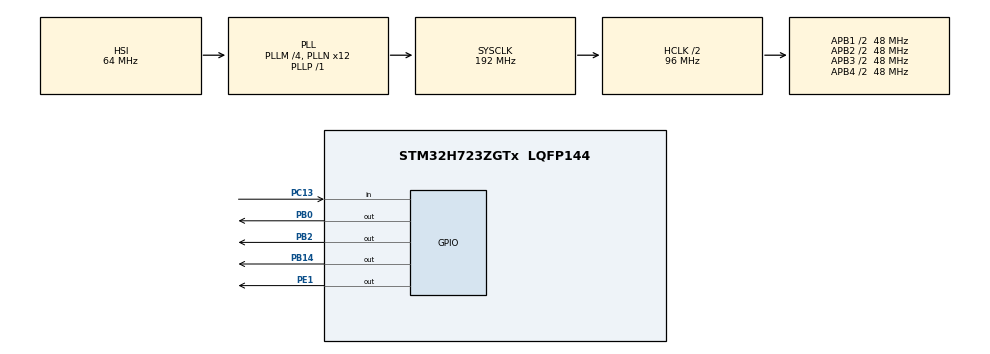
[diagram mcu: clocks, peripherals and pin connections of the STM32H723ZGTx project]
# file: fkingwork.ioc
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CORTEX_M7.default_mode_Activation=1
Mcu.Family=STM32H7
Mcu.Name=STM32H723ZGTx
Mcu.Package=LQFP144
NUCLEO-H723ZG.BUTTON=1
NUCLEO-H723ZG.LD1=true
NUCLEO-H723ZG.LD2=true
NUCLEO-H723ZG.LD3=true
NUCLEO-H723ZG.VCP=true
NVIC.EXTI15_10_IRQn=true\:0\:0\:false\:false\:true\:false\:true\:true
NVIC.PriorityGroup=NVIC_PRIORITYGROUP_4
PA13(JTMS/SWDIO).GPIO_Label=SWDIO
PA13(JTMS/SWDIO).Signal=DEBUG_JTMS-SWDIO
PA14(JTCK/SWCLK).GPIO_Label=SWCLK
PA14(JTCK/SWCLK).Signal=DEBUG_JTCK-SWCLK
PB0.Signal=GPIO_Output
PB14.Signal=GPIO_Output
PB2.Signal=GPIO_Output
PC13.Signal=GPIO_Input
PC14-OSC32_IN.Signal=RCC_OSC32_IN
PC15-OSC32_OUT.Signal=RCC_OSC32_OUT
PD8.Signal=USART3_TX
PD9.Signal=USART3_RX
PE1.Signal=GPIO_Output
ProjectManager.HeapSize=0x200
ProjectManager.StackSize=0x400
ProjectManager.TargetToolchain=STM32CubeIDE
RCC.ADCFreq_Value=608000000
RCC.APB1Freq_Value=48000000
RCC.APB2Freq_Value=48000000
RCC.APB3Freq_Value=48000000
RCC.APB4Freq_Value=48000000
RCC.CortexFreq_Value=192000000
RCC.D1PPRE=RCC_APB3_DIV2
RCC.D2PPRE1=RCC_APB1_DIV2
RCC.D2PPRE2=RCC_APB2_DIV2
RCC.D3PPRE=RCC_APB4_DIV2
RCC.DIVM1=4
RCC.DIVM2=1
RCC.DIVN1=12
RCC.DIVN2=19
RCC.DIVP1=1
RCC.DIVQ1=4
RCC.HCLKFreq_Value=96000000
RCC.HPRE=RCC_HCLK_DIV2
RCC.HSE_VALUE=8000000
RCC.PLLFRACN=0
RCC.SYSCLKFreq_VALUE=192000000
RCC.SYSCLKSource=RCC_SYSCLKSOURCE_PLLCLK
RCC.USBCLockSelection=RCC_USBCLKSOURCE_HSI48
RCC.USBFreq_Value=48000000
VP_MEMORYMAP_VS_MEMORYMAP.Mode=CurAppReg
VP_NUCLEO-H723ZG_VS_BSP_COMMON.Mode=COMMON
board=NUCLEO-H723ZG

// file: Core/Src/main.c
/* USER CODE BEGIN Header */
#define MAX(a,b) ((a) > (b) ? (a) : (b))
#define MIN(a,b) ((a) < (b) ? (a) : (b))
#define MAX(a,b) ((a) > (b) ? (a) : (b))
#define MIN(a,b) ((a) < (b) ? (a) : (b))
#define SYSTICK_LOAD (SystemCoreClock/1000000U)
#define SYSTICK_DELAY_CALIB (SYSTICK_LOAD >> 1)

/**
  ******************************************************************************
  * @file           : main.c
  * @brief          : Main program body
  ******************************************************************************
  * @attention
  *
  * Copyright (c) 2025 STMicroelectronics.
  * All rights reserved.
  *
  * This software is licensed under terms that can be found in the LICENSE file
  * in the root directory of this software component.
  * If no LICENSE file comes with this software, it is provided AS-IS.
  *
  ******************************************************************************
  */
/* USER CODE END Header */
#include "main.h"
#include "arm_math.h"

/* USER CODE BEGIN PTD */

//generated ellipse
float32_t mat_x[5] =  {2.0f, 3.6f, -0.754f, 5.356f, 1.0f};
float32_t mat_y[5] =  {1.62f, -5.642f, -0.5f, -3.4, 1.842f};
// variable buffers
float32_t coef[5][1]={};
float32_t dc[2]={};
float32_t phi = 0.0f;
float32_t scale[2]={};

//coeff calculates coefficients of general equation of ellipse
void coeff(float32_t x[5],float32_t y[5],float32_t coef[5][1])
  {

	  arm_matrix_instance_f32 mat_M_instance;
	  arm_matrix_instance_f32 mat_C_instance;
	  arm_matrix_instance_f32 mat_coef_instance;
	  arm_matrix_instance_f32 mat_MT_instance;
	  arm_matrix_instance_f32 mat_M1_instance;
	  arm_matrix_instance_f32 mat_M2_instance;

	  static float32_t C[5][1];
	  static float32_t M[5][5];
	  static float32_t MT[5][5];
	  static float32_t M1[5][5];
	  static float32_t M2[5][5];
	  for(int i =0;i<5;i++){
		  M[i][0]=x[i]*y[i];
		  M[i][1]=y[i]*y[i];
		  M[i][2]=x[i];
		  M[i][3]=y[i];
		  M[i][4]=1.0f;
	  }

	  for(int i =0;i<5;i++){
		  C[i][0]=-x[i]*x[i];
	  }

	  arm_mat_init_f32(&mat_M_instance, 5, 5, &M[0][0]);
	  arm_mat_init_f32(&mat_C_instance, 5, 1, &C[0][0]);
	  arm_mat_init_f32(&mat_coef_instance, 5, 1, &coef[0][0]);
	  arm_mat_init_f32(&mat_MT_instance,5,5,&MT[0][0]);
	  arm_mat_init_f32(&mat_M1_instance,5,5,&M1[0][0]);
	  arm_mat_init_f32(&mat_M2_instance,5,5,&M2[0][0]);

	  arm_status status_trans;
	  arm_status status_mult1;
	  arm_status status_mult2;
	  arm_status status_mult3;
	  arm_status status_inv;
	  status_trans=arm_mat_trans_f32(&mat_M_instance,&mat_MT_instance);
	  status_mult1=arm_mat_mult_f32(&mat_MT_instance,&mat_M_instance,&mat_M1_instance);//(Mt*M) in M1
	  status_inv=arm_mat_inverse_f32(&mat_M1_instance,&mat_M2_instance); // (Mt*M)^-1 in M2
	  status_mult2=arm_mat_mult_f32(&mat_M2_instance,&mat_MT_instance,&mat_M1_instance); //((Mt*M)^-1 ) * Mt in M1
	  status_mult3=arm_mat_mult_f32(&mat_M1_instance,&mat_C_instance,&mat_coef_instance);//((Mt*M)^-1 ) * Mt * C in coef

  }

//calc_dc_phi calculates the DC offstet and phi - angle offset of ellipse
void calc_dc_phi(float32_t coef[5][1],float32_t dc[2],float32_t *phi){
		float32_t b = coef[0][0];
		float32_t c = coef[1][0];
		float32_t d = coef[2][0];
		float32_t e = coef[3][0];

		float32_t den=0.25f*b*b-c;
		if (den ==0.0f){
			den=1E-5;
		}
	 	dc[0] = (0.5f * c * d - 0.25f * b * e) / den;
	    dc[1] = (0.5f* e - 0.25f * b * d) / den;
	    *phi = asinf(b/(2*sqrt(c)));
}

// calc_scal calculates the width and height of ellipse for scaling
void calc_scal(float32_t x[5],float32_t y[5],float32_t *phi,float32_t dc[2],float32_t scale[2]){

	float32_t x_buff[5]={};
	float32_t y_buff[5]={};
	float32_t x_buff_n[5]={};
	float32_t y_buff_n[5]={};
	float32_t max_min_x[2]={}; // min and max of y and x
	float32_t max_min_y[2]={};

	for(int i=0; i<5;i++){
		x_buff[i]=x[i]-dc[0];
		y_buff[i]=y[i]-dc[1];
		x_buff_n[i]=x_buff[i]*cos(*phi)-y_buff[i]*sin(*phi);
		y_buff_n[i]=x_buff[i]*sin(*phi)+y_buff[i]*cos(*phi);

		max_min_x[0] = MAX(max_min_x[0], x_buff_n[i]);
		max_min_x[1] = MIN(max_min_x[1], x_buff_n[i]);
		max_min_y[0] = MAX(max_min_y[0], y_buff_n[i]);
		max_min_y[1] = MIN(max_min_y[1], y_buff_n[i]);

	}

	scale[0]=(fabsf(max_min_x[0])+fabsf(max_min_x[1]))/2;
	scale[1]=(fabsf(max_min_y[0])+fabsf(max_min_y[1]))/2;
}

// transform transforms every sample with calculated DC, phi and width/height of ellipse

void transform(float32_t *I, float32_t *Q,float32_t dc[2],float32_t *phi,float32_t scale[2]){
	*I=*I-dc[0];
	*Q=*Q-dc[1];
	float32_t I_trans=(*I)*cos(*phi)-(*Q)*sin(*phi);
	float32_t Q_trans=(*I)*sin(*phi)+(*Q)*cos(*phi);

	*I=I_trans/scale[0];
	*Q=Q_trans/scale[1];
}

/* USER CODE END PTD */

COM_InitTypeDef BspCOMInit;

void SystemClock_Config(void);
static void MPU_Config(void);
static void MX_GPIO_Init(void);

int main(void)
{

  /* USER CODE BEGIN 1 */

	//function call
	coeff(mat_x,mat_y,coef);
	calc_dc_phi(coef,dc,&phi);
	calc_scal(mat_x, mat_y,&phi,dc,scale);

  /* USER CODE END 1 */

  /* MPU Configuration--------------------------------------------------------*/
  MPU_Config();

  /* MCU Configuration--------------------------------------------------------*/

  /* Reset of all peripherals, Initializes the Flash interface and the Systick. */
  HAL_Init();

  /* Configure the system clock */
  SystemClock_Config();

  /* Initialize all configured peripherals */
  MX_GPIO_Init();

  /* Initialize leds */
//  BSP_LED_Init(LED_GREEN);
//  BSP_LED_Init(LED_YELLOW);
//  BSP_LED_Init(LED_RED);

  /* Initialize USER push-button, will be used to trigger an interrupt each time it's pressed.*/
  BSP_PB_Init(BUTTON_USER, BUTTON_MODE_EXTI);

  /* Initialize COM1 port (115200, 8 bits (7-bit data + 1 stop bit), no parity */
  BspCOMInit.BaudRate   = 115200;
  BspCOMInit.WordLength = COM_WORDLENGTH_8B;
  BspCOMInit.StopBits   = COM_STOPBITS_1;
  BspCOMInit.Parity     = COM_PARITY_NONE;
  BspCOMInit.HwFlowCtl  = COM_HWCONTROL_NONE;
  if (BSP_COM_Init(COM1, &BspCOMInit) != BSP_ERROR_NONE)
  {
    Error_Handler();
  }

  /* Infinite loop */
  /* USER CODE BEGIN WHILE */

  	  // LED blinking
  	  HAL_GPIO_WritePin(GPIOB, GPIO_PIN_14,GPIO_PIN_SET);
  	  HAL_Delay(1000);
  	  HAL_GPIO_WritePin(GPIOB, GPIO_PIN_14,GPIO_PIN_RESET);
  	  HAL_Delay(1000);
  	  HAL_GPIO_WritePin(GPIOB, GPIO_PIN_14,GPIO_PIN_SET);

  while (1)
  {

	  for(int i=0; i<5; i++){

		  transform(&mat_x[i],&mat_y[i],dc,&phi,scale); // transformacja pojedynczych próbek						//	KOMENTARZ
	  }
    /* USER CODE END WHILE */

  }
}

void SystemClock_Config(void)
{
  RCC_OscInitTypeDef RCC_OscInitStruct = {0};
  RCC_ClkInitTypeDef RCC_ClkInitStruct = {0};

  /** Supply configuration update enable
  */
  HAL_PWREx_ConfigSupply(PWR_LDO_SUPPLY);

  /** Configure the main internal regulator output voltage
  */
  __HAL_PWR_VOLTAGESCALING_CONFIG(PWR_REGULATOR_VOLTAGE_SCALE2);

  while(!__HAL_PWR_GET_FLAG(PWR_FLAG_VOSRDY)) {}

  /** Initializes the RCC Oscillators according to the specified parameters
  * in the RCC_OscInitTypeDef structure.
  */
  RCC_OscInitStruct.OscillatorType = RCC_OSCILLATORTYPE_HSI;
  RCC_OscInitStruct.HSIState = RCC_HSI_DIV1;
  RCC_OscInitStruct.HSICalibrationValue = 64;
  RCC_OscInitStruct.PLL.PLLState = RCC_PLL_ON;
  RCC_OscInitStruct.PLL.PLLSource = RCC_PLLSOURCE_HSI;
  RCC_OscInitStruct.PLL.PLLM = 4;
  RCC_OscInitStruct.PLL.PLLN = 12;
  RCC_OscInitStruct.PLL.PLLP = 1;
  RCC_OscInitStruct.PLL.PLLQ = 4;
  RCC_OscInitStruct.PLL.PLLR = 2;
  RCC_OscInitStruct.PLL.PLLRGE = RCC_PLL1VCIRANGE_3;
  RCC_OscInitStruct.PLL.PLLVCOSEL = RCC_PLL1VCOWIDE;
  RCC_OscInitStruct.PLL.PLLFRACN = 0;
  if (HAL_RCC_OscConfig(&RCC_OscInitStruct) != HAL_OK)
  {
    Error_Handler();
  }

  /** Initializes the CPU, AHB and APB buses clocks
  */
  RCC_ClkInitStruct.ClockType = RCC_CLOCKTYPE_HCLK|RCC_CLOCKTYPE_SYSCLK
                              |RCC_CLOCKTYPE_PCLK1|RCC_CLOCKTYPE_PCLK2
                              |RCC_CLOCKTYPE_D3PCLK1|RCC_CLOCKTYPE_D1PCLK1;
  RCC_ClkInitStruct.SYSCLKSource = RCC_SYSCLKSOURCE_PLLCLK;
  RCC_ClkInitStruct.SYSCLKDivider = RCC_SYSCLK_DIV1;
  RCC_ClkInitStruct.AHBCLKDivider = RCC_HCLK_DIV2;
  RCC_ClkInitStruct.APB3CLKDivider = RCC_APB3_DIV2;
  RCC_ClkInitStruct.APB1CLKDivider = RCC_APB1_DIV2;
  RCC_ClkInitStruct.APB2CLKDivider = RCC_APB2_DIV2;
  RCC_ClkInitStruct.APB4CLKDivider = RCC_APB4_DIV2;

  if (HAL_RCC_ClockConfig(&RCC_ClkInitStruct, FLASH_LATENCY_1) != HAL_OK)
  {
    Error_Handler();
  }
}

static void MX_GPIO_Init(void)
{
  GPIO_InitTypeDef GPIO_InitStruct = {0};

  /* GPIO Ports Clock Enable */
  __HAL_RCC_GPIOC_CLK_ENABLE();
  __HAL_RCC_GPIOB_CLK_ENABLE();
  __HAL_RCC_GPIOA_CLK_ENABLE();

  /*Configure GPIO pin Output Level */
  HAL_GPIO_WritePin(GPIOB, GPIO_PIN_2|GPIO_PIN_14, GPIO_PIN_RESET);

  /*Configure GPIO pins : PB2 PB14 */
  GPIO_InitStruct.Pin = GPIO_PIN_2|GPIO_PIN_14;
  GPIO_InitStruct.Mode = GPIO_MODE_OUTPUT_PP;
  GPIO_InitStruct.Pull = GPIO_NOPULL;
  GPIO_InitStruct.Speed = GPIO_SPEED_FREQ_LOW;
  HAL_GPIO_Init(GPIOB, &GPIO_InitStruct);

}

 /* MPU Configuration */

void MPU_Config(void)
{
  MPU_Region_InitTypeDef MPU_InitStruct = {0};

  /* Disables the MPU */
  HAL_MPU_Disable();

  /** Initializes and configures the Region and the memory to be protected
  */
  MPU_InitStruct.Enable = MPU_REGION_ENABLE;
  MPU_InitStruct.Number = MPU_REGION_NUMBER0;
  MPU_InitStruct.BaseAddress = 0x0;
  MPU_InitStruct.Size = MPU_REGION_SIZE_4GB;
  MPU_InitStruct.SubRegionDisable = 0x87;
  MPU_InitStruct.TypeExtField = MPU_TEX_LEVEL0;
  MPU_InitStruct.AccessPermission = MPU_REGION_NO_ACCESS;
  MPU_InitStruct.DisableExec = MPU_INSTRUCTION_ACCESS_DISABLE;
  MPU_InitStruct.IsShareable = MPU_ACCESS_SHAREABLE;
  MPU_InitStruct.IsCacheable = MPU_ACCESS_NOT_CACHEABLE;
  MPU_InitStruct.IsBufferable = MPU_ACCESS_NOT_BUFFERABLE;

  HAL_MPU_ConfigRegion(&MPU_InitStruct);
  /* Enables the MPU */
  HAL_MPU_Enable(MPU_PRIVILEGED_DEFAULT);

}

void Error_Handler(void)
{
  __disable_irq();
  while (1)
  {
  }
}
